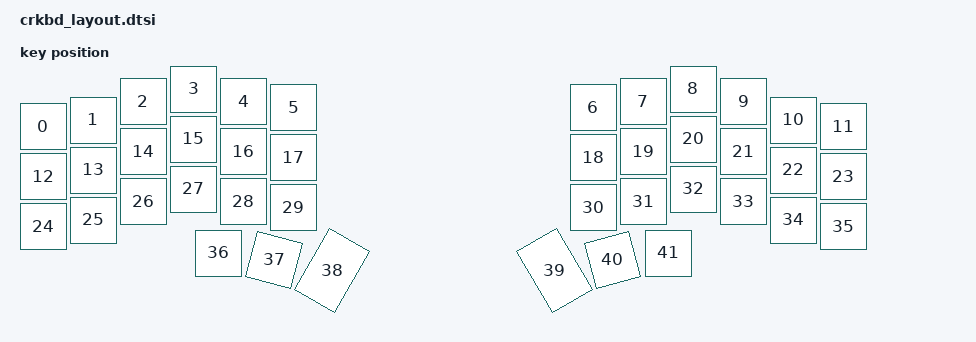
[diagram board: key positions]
#include <physical_layouts.dtsi>

#include "position_map.dtsi"

/ {
        skean_crkbd_layout: skean_crkbd_layout {
                compatible = "zmk,physical-layout";
                display-name = "Corne";

                keys  //                 w   h    x    y     rot    rx    ry
                = <&key_physical_attrs 100 100  100   75       0     0     0>
                , <&key_physical_attrs 100 100  200   62       0     0     0>
                , <&key_physical_attrs 100 100  300   25       0     0     0>
                , <&key_physical_attrs 100 100  401    0       0     0     0>
                , <&key_physical_attrs 100 100  501   25       0     0     0>
                , <&key_physical_attrs 100 100  601   37       0     0     0>
                , <&key_physical_attrs 100 100 1200   37       0     0     0>
                , <&key_physical_attrs 100 100 1300   25       0     0     0>
                , <&key_physical_attrs 100 100 1400    0       0     0     0>
                , <&key_physical_attrs 100 100 1501   25       0     0     0>
                , <&key_physical_attrs 100 100 1601   62       0     0     0>
                , <&key_physical_attrs 100 100 1701   75       0     0     0>
                , <&key_physical_attrs 100 100  100  175       0     0     0>
                , <&key_physical_attrs 100 100  200  162       0     0     0>
                , <&key_physical_attrs 100 100  300  125       0     0     0>
                , <&key_physical_attrs 100 100  401  100       0     0     0>
                , <&key_physical_attrs 100 100  501  125       0     0     0>
                , <&key_physical_attrs 100 100  601  137       0     0     0>
                , <&key_physical_attrs 100 100 1200  137       0     0     0>
                , <&key_physical_attrs 100 100 1300  125       0     0     0>
                , <&key_physical_attrs 100 100 1400  100       0     0     0>
                , <&key_physical_attrs 100 100 1501  125       0     0     0>
                , <&key_physical_attrs 100 100 1601  162       0     0     0>
                , <&key_physical_attrs 100 100 1701  175       0     0     0>
                , <&key_physical_attrs 100 100  100  275       0     0     0>
                , <&key_physical_attrs 100 100  200  262       0     0     0>
                , <&key_physical_attrs 100 100  300  225       0     0     0>
                , <&key_physical_attrs 100 100  401  200       0     0     0>
                , <&key_physical_attrs 100 100  501  225       0     0     0>
                , <&key_physical_attrs 100 100  601  237       0     0     0>
                , <&key_physical_attrs 100 100 1200  237       0     0     0>
                , <&key_physical_attrs 100 100 1300  225       0     0     0>
                , <&key_physical_attrs 100 100 1400  200       0     0     0>
                , <&key_physical_attrs 100 100 1501  225       0     0     0>
                , <&key_physical_attrs 100 100 1601  262       0     0     0>
                , <&key_physical_attrs 100 100 1701  275       0     0     0>
                , <&key_physical_attrs 100 100  451  328       0     0     0>
                , <&key_physical_attrs 100 100  562  342    1500   612   392>
                , <&key_physical_attrs 100 150  678  338    3000   728   413>
                , <&key_physical_attrs 100 150 1123  338 (-3000)  1173   413>
                , <&key_physical_attrs 100 100 1239  342 (-1500)  1289   392>
                , <&key_physical_attrs 100 100 1350  328       0     0     0>
                ;
        };
};

&layouts_skean_position_map{
        crkbd {
                physical-layout = <&skean_crkbd_layout>;

                positions
                = <42  0  1  2  3  4  5        6  7  8  9 10 11 43>
                , <   12 13 14 15 16 17       18 19 20 21 22 23   >
                , <   24 25 26 27 28 29       30 31 32 33 34 35   >
                , <               36 37 38 39 40 41               >;
        };
};
